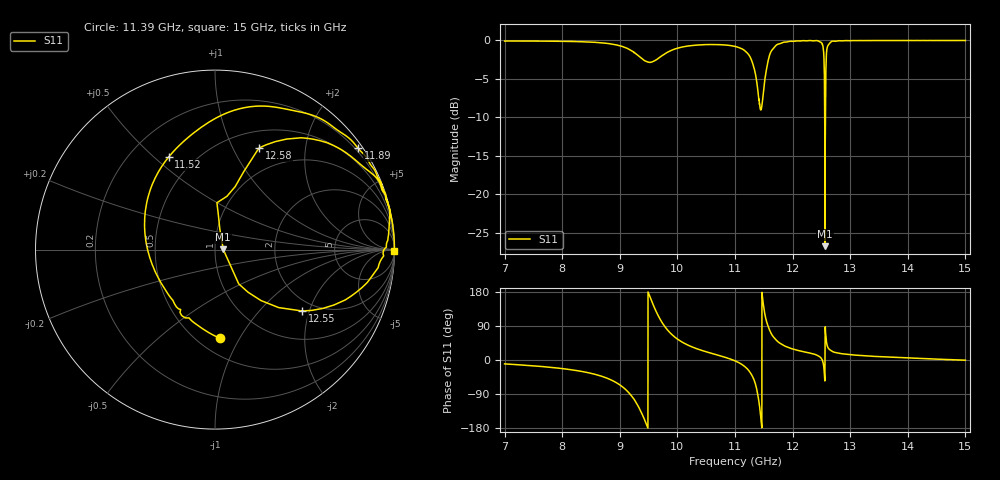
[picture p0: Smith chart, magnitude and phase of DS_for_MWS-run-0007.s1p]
! TOUCHSTONE file generated by CST DESIGN STUDIO
! Date and time: Mon Feb 10 16:57:14 2025
! Project name: C:\Work\MatlabApps\UnitCellType2OptimizationMatlab\CST\unitcell.cst
! Tree item: Tasks\Sweep1\SPara1\S-Parameters
! Header version: 2024
! Port assignment regex: !\s*Touchstone port\s*([0-9]+)\s*=\s*(CST MWS port|CST DES external port|CST DES block port)\s*(.+)\s* \(\"(.*)\"\)(\s*mode\s*([0-9]+))?.*
! Touchstone port assignment:
! Touchstone port 1 = CST DES external port 1 ("")
# GHz S MA R 50
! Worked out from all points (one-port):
!   4001 points, 7 GHz to 15 GHz, reference 50 ohm
!   lowest |S11| = -26.8 dB at 12.56 GHz (marker M1), VSWR 1.10, Z = 54.8 + j0.123 ohm
!   |S11| at or under -10 dB: 12.55758 GHz to 12.57041 GHz (12.83 MHz wide, 0.102 % of centre)
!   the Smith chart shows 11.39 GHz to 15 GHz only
!   S11 on the Smith chart (normalised r, x): 11.39 GHz: 0.64, -0.83; 11.52 GHz: 0.36, +0.56; 11.89 GHz: 0.13, +3.13; 12.55 GHz: 1.70, -1.79; 12.58 GHz: 0.70, +1.27; 15 GHz: open
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7  0.9911 -10.3
8  0.9873 -22.6
8.632  0.9685 -40.4
9  0.9247 -65.6
9.272  0.8235 -109.7
9.488  0.7239 -179.6
9.708  0.7844 105.4
10  0.8902 55.3
10.402  0.9368 26.4
11  0.915 -2.2
11.242  0.8039 -28.5
11.39  0.496 -86.6
11.462  0.3658 -172.8
11.524  0.577 116.5
11.624  0.8451 71.1
11.736  0.9423 49.5
11.888  0.9762 35.3
12  0.9868 29.1
12.482  0.9772 7.1
12.522  0.9302 -3.1
12.552  0.5938 -35.2
12.562  0.04591 1.4
12.576  0.6165 66.6
12.612  0.9235 33.4
12.676  0.9842 23.9
13  0.9968 14.1
14  0.9989 5.3
15  0.9995 -0.5
